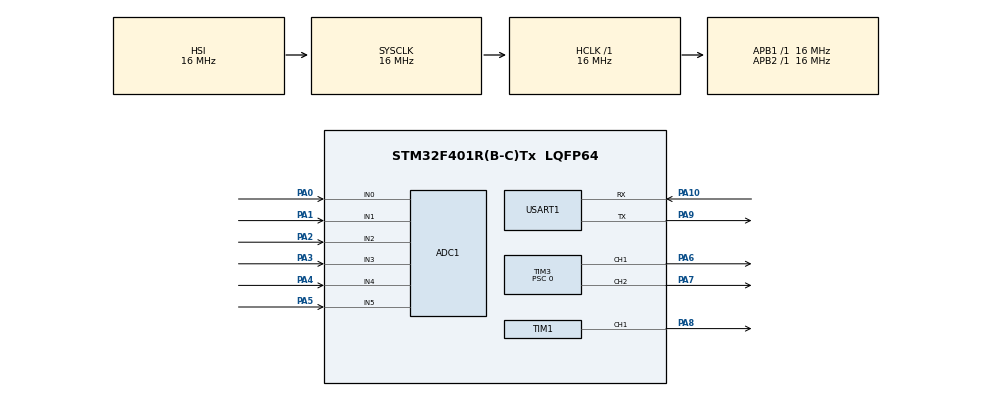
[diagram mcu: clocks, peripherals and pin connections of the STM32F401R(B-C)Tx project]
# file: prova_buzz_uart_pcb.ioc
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ADC1.Channel-0\#ChannelRegularConversion=ADC_CHANNEL_0
ADC1.Channel-1\#ChannelRegularConversion=ADC_CHANNEL_1
ADC1.Channel-2\#ChannelRegularConversion=ADC_CHANNEL_2
ADC1.Channel-3\#ChannelRegularConversion=ADC_CHANNEL_3
ADC1.Channel-4\#ChannelRegularConversion=ADC_CHANNEL_4
ADC1.Channel-5\#ChannelRegularConversion=ADC_CHANNEL_5
ADC1.ContinuousConvMode=DISABLE
ADC1.DMAContinuousRequests=DISABLE
ADC1.NbrOfConversion=6
ADC1.NbrOfConversionFlag=1
ADC1.Rank-0\#ChannelRegularConversion=1
ADC1.Rank-1\#ChannelRegularConversion=2
ADC1.Rank-2\#ChannelRegularConversion=3
ADC1.Rank-3\#ChannelRegularConversion=4
ADC1.Rank-4\#ChannelRegularConversion=5
ADC1.Rank-5\#ChannelRegularConversion=6
ADC1.SamplingTime-0\#ChannelRegularConversion=ADC_SAMPLETIME_480CYCLES
ADC1.SamplingTime-1\#ChannelRegularConversion=ADC_SAMPLETIME_480CYCLES
ADC1.SamplingTime-2\#ChannelRegularConversion=ADC_SAMPLETIME_480CYCLES
ADC1.SamplingTime-3\#ChannelRegularConversion=ADC_SAMPLETIME_480CYCLES
ADC1.SamplingTime-4\#ChannelRegularConversion=ADC_SAMPLETIME_480CYCLES
ADC1.SamplingTime-5\#ChannelRegularConversion=ADC_SAMPLETIME_480CYCLES
ADC1.ScanConvMode=ENABLE
ADC1.master=1
Dma.Request0=USART1_RX
Dma.Request1=USART1_TX
Dma.USART1_RX.0.Direction=DMA_PERIPH_TO_MEMORY
Dma.USART1_RX.0.FIFOMode=DMA_FIFOMODE_DISABLE
Dma.USART1_RX.0.Instance=DMA2_Stream2
Dma.USART1_RX.0.MemDataAlignment=DMA_MDATAALIGN_BYTE
Dma.USART1_RX.0.MemInc=DMA_MINC_ENABLE
Dma.USART1_RX.0.Mode=DMA_NORMAL
Dma.USART1_RX.0.PeriphDataAlignment=DMA_PDATAALIGN_BYTE
Dma.USART1_RX.0.PeriphInc=DMA_PINC_DISABLE
Dma.USART1_RX.0.Priority=DMA_PRIORITY_LOW
Dma.USART1_TX.1.Direction=DMA_MEMORY_TO_PERIPH
Dma.USART1_TX.1.FIFOMode=DMA_FIFOMODE_DISABLE
Dma.USART1_TX.1.Instance=DMA2_Stream7
Dma.USART1_TX.1.MemDataAlignment=DMA_MDATAALIGN_BYTE
Dma.USART1_TX.1.MemInc=DMA_MINC_ENABLE
Dma.USART1_TX.1.Mode=DMA_NORMAL
Dma.USART1_TX.1.PeriphDataAlignment=DMA_PDATAALIGN_BYTE
Dma.USART1_TX.1.PeriphInc=DMA_PINC_DISABLE
Dma.USART1_TX.1.Priority=DMA_PRIORITY_LOW
Mcu.Family=STM32F4
Mcu.Name=STM32F401R(B-C)Tx
Mcu.Package=LQFP64
NVIC.ADC_IRQn=true\:0\:0\:false\:false\:true\:true\:true\:true
NVIC.DMA2_Stream2_IRQn=true\:0\:0\:false\:false\:true\:false\:true\:true
NVIC.DMA2_Stream7_IRQn=true\:0\:0\:false\:false\:true\:false\:true\:true
NVIC.PriorityGroup=NVIC_PRIORITYGROUP_4
NVIC.USART1_IRQn=true\:0\:0\:false\:false\:true\:true\:true\:true
PA0-WKUP.Signal=ADCx_IN0
PA1.Signal=ADCx_IN1
PA10.Mode=Asynchronous
PA10.Signal=USART1_RX
PA2.Signal=ADCx_IN2
PA3.Signal=ADCx_IN3
PA4.Signal=ADCx_IN4
PA5.Signal=ADCx_IN5
PA6.Signal=S_TIM3_CH1
PA7.Signal=S_TIM3_CH2
PA8.Signal=S_TIM1_CH1
PA9.Mode=Asynchronous
PA9.Signal=USART1_TX
ProjectManager.HeapSize=0x200
ProjectManager.StackSize=0x400
ProjectManager.TargetToolchain=STM32CubeIDE
RCC.AHBFreq_Value=16000000
RCC.APB1Freq_Value=16000000
RCC.APB2Freq_Value=16000000
RCC.CortexFreq_Value=16000000
RCC.HSE_VALUE=25000000
RCC.HSI_VALUE=16000000
RCC.LSE_VALUE=32768
RCC.SYSCLKFreq_VALUE=16000000
RCC.VCOOutputFreq_Value=192000000
SH.ADCx_IN0.0=ADC1_IN0,IN0
SH.ADCx_IN1.0=ADC1_IN1,IN1
SH.ADCx_IN2.0=ADC1_IN2,IN2
SH.ADCx_IN3.0=ADC1_IN3,IN3
SH.ADCx_IN4.0=ADC1_IN4,IN4
SH.ADCx_IN5.0=ADC1_IN5,IN5
SH.S_TIM1_CH1.0=TIM1_CH1,PWM Generation1 CH1
SH.S_TIM3_CH1.0=TIM3_CH1,PWM Generation1 CH1
SH.S_TIM3_CH2.0=TIM3_CH2,PWM Generation2 CH2
TIM1.Channel-PWM\ Generation1\ CH1=TIM_CHANNEL_1
TIM3.Channel-PWM\ Generation1\ CH1=TIM_CHANNEL_1
TIM3.Channel-PWM\ Generation2\ CH2=TIM_CHANNEL_2
TIM3.Period=255
TIM3.Prescaler=0
USART1.VirtualMode=VM_ASYNC
board=custom

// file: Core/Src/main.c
/* USER CODE BEGIN Header */
/**
  ******************************************************************************
  * @file           : main.c
  * @brief          : Main program body
  ******************************************************************************
  * @attention
  *
  * Copyright (c) 2026 STMicroelectronics.
  * All rights reserved.
  *
  * This software is licensed under terms that can be found in the LICENSE file
  * in the root directory of this software component.
  * If no LICENSE file comes with this software, it is provided AS-IS.
  *
  ******************************************************************************
  */
/* USER CODE END Header */
#include "main.h"
#include "ntc.h" //NTC

ADC_HandleTypeDef hadc1;

TIM_HandleTypeDef htim1;
TIM_HandleTypeDef htim3;

UART_HandleTypeDef huart1;
DMA_HandleTypeDef hdma_usart1_rx;
DMA_HandleTypeDef hdma_usart1_tx;

void SystemClock_Config(void);
static void MX_GPIO_Init(void);
static void MX_DMA_Init(void);
static void MX_TIM1_Init(void);
static void MX_USART1_UART_Init(void);
static void MX_TIM3_Init(void);
static void MX_ADC1_Init(void);

/* USER CODE BEGIN 0 */

// qui metto le funzioni

void Buzzer_Beep(uint32_t frequency_hz, uint32_t duration_ms)
{
    uint32_t timer_clock = 16000000; // HSI = 16MHz, nessun PLL
    uint32_t arr = (timer_clock / frequency_hz) - 1;

    __HAL_TIM_SET_AUTORELOAD(&htim1, arr);
    __HAL_TIM_SET_COMPARE(&htim1, TIM_CHANNEL_1, arr / 2); // 50% duty cycle
    HAL_TIM_PWM_Start(&htim1, TIM_CHANNEL_1);
    HAL_Delay(duration_ms);
    HAL_TIM_PWM_Stop(&htim1, TIM_CHANNEL_1);
}

/* USER CODE END 0 */

int main(void)
{

  /* MCU Configuration--------------------------------------------------------*/

  /* Reset of all peripherals, Initializes the Flash interface and the Systick. */
  HAL_Init();

  /* Configure the system clock */
  SystemClock_Config();

  /* Initialize all configured peripherals */
  MX_GPIO_Init();
  MX_DMA_Init();
  MX_TIM1_Init();
  MX_USART1_UART_Init();
  MX_TIM3_Init();
  MX_ADC1_Init();
  /* USER CODE BEGIN 2 */

  // buzz sound
  Buzzer_Beep(2000, 300);
/*
  ***PWM SETTINGS TOLTO MOMENTANEAEMENTE***
  // Avvia PWM ventole
  HAL_TIM_PWM_Start(&htim3, TIM_CHANNEL_1);
  HAL_TIM_PWM_Start(&htim3, TIM_CHANNEL_2);

  // Duty cycle iniziale 50%
  __HAL_TIM_SET_COMPARE(&htim3, TIM_CHANNEL_1, 127);
  __HAL_TIM_SET_COMPARE(&htim3, TIM_CHANNEL_2, 127);

*/
  GPIO_InitTypeDef GPIO_InitStruct = {0};
  GPIO_InitStruct.Pin = GPIO_PIN_6 | GPIO_PIN_7;
  GPIO_InitStruct.Mode = GPIO_MODE_OUTPUT_PP;
  GPIO_InitStruct.Pull = GPIO_NOPULL;
  GPIO_InitStruct.Speed = GPIO_SPEED_FREQ_LOW;
  HAL_GPIO_Init(GPIOA, &GPIO_InitStruct);

  NTC_Init(&hadc1); //NTC init

  /* USER CODE END 2 */

  /* Infinite loop */
  while (1)
  {

    /* USER CODE BEGIN 3 */

	  /*
	  for(int i=0; i<255; i++){
		  __HAL_TIM_SET_COMPARE(&htim3, TIM_CHANNEL_1, i);
		  __HAL_TIM_SET_COMPARE(&htim3, TIM_CHANNEL_2, i);

		  HAL_Delay(10);
	  }
	*/
	    HAL_GPIO_WritePin(GPIOA, GPIO_PIN_6 | GPIO_PIN_7, GPIO_PIN_SET);
	    HAL_Delay(500);
	    HAL_GPIO_WritePin(GPIOA, GPIO_PIN_6 | GPIO_PIN_7, GPIO_PIN_RESET);
	    HAL_Delay(500);

	    //NTC
	    if (NTC_DataReady())
	    {
	        NTC_ClearFlag();

	        for (uint8_t i = 0; i < NTC_COUNT; i++)
	        {
	            uint32_t raw    = NTC_GetRaw(i);
	            float r_ntc   	= NTC_GetResistance(i);
	            float temp 		= NTC_GetTemperature(i); // da sistemare con i valori giusti del datasheet del sensore
	        }
	    }
  }
  /* USER CODE END 3 */
}

void SystemClock_Config(void)
{
  RCC_OscInitTypeDef RCC_OscInitStruct = {0};
  RCC_ClkInitTypeDef RCC_ClkInitStruct = {0};

  /** Configure the main internal regulator output voltage
  */
  __HAL_RCC_PWR_CLK_ENABLE();
  __HAL_PWR_VOLTAGESCALING_CONFIG(PWR_REGULATOR_VOLTAGE_SCALE2);

  /** Initializes the RCC Oscillators according to the specified parameters
  * in the RCC_OscInitTypeDef structure.
  */
  RCC_OscInitStruct.OscillatorType = RCC_OSCILLATORTYPE_HSI;
  RCC_OscInitStruct.HSIState = RCC_HSI_ON;
  RCC_OscInitStruct.HSICalibrationValue = RCC_HSICALIBRATION_DEFAULT;
  RCC_OscInitStruct.PLL.PLLState = RCC_PLL_NONE;
  if (HAL_RCC_OscConfig(&RCC_OscInitStruct) != HAL_OK)
  {
    Error_Handler();
  }

  /** Initializes the CPU, AHB and APB buses clocks
  */
  RCC_ClkInitStruct.ClockType = RCC_CLOCKTYPE_HCLK|RCC_CLOCKTYPE_SYSCLK
                              |RCC_CLOCKTYPE_PCLK1|RCC_CLOCKTYPE_PCLK2;
  RCC_ClkInitStruct.SYSCLKSource = RCC_SYSCLKSOURCE_HSI;
  RCC_ClkInitStruct.AHBCLKDivider = RCC_SYSCLK_DIV1;
  RCC_ClkInitStruct.APB1CLKDivider = RCC_HCLK_DIV1;
  RCC_ClkInitStruct.APB2CLKDivider = RCC_HCLK_DIV1;

  if (HAL_RCC_ClockConfig(&RCC_ClkInitStruct, FLASH_LATENCY_0) != HAL_OK)
  {
    Error_Handler();
  }
}

static void MX_ADC1_Init(void)
{

  ADC_ChannelConfTypeDef sConfig = {0};

  /** Configure the global features of the ADC (Clock, Resolution, Data Alignment and number of conversion)
  */
  hadc1.Instance = ADC1;
  hadc1.Init.ClockPrescaler = ADC_CLOCK_SYNC_PCLK_DIV2;
  hadc1.Init.Resolution = ADC_RESOLUTION_12B;
  hadc1.Init.ScanConvMode = ENABLE;
  hadc1.Init.ContinuousConvMode = DISABLE;
  hadc1.Init.DiscontinuousConvMode = DISABLE;
  hadc1.Init.ExternalTrigConvEdge = ADC_EXTERNALTRIGCONVEDGE_NONE;
  hadc1.Init.ExternalTrigConv = ADC_SOFTWARE_START;
  hadc1.Init.DataAlign = ADC_DATAALIGN_RIGHT;
  hadc1.Init.NbrOfConversion = 6;
  hadc1.Init.DMAContinuousRequests = DISABLE;
  hadc1.Init.EOCSelection = ADC_EOC_SINGLE_CONV;
  if (HAL_ADC_Init(&hadc1) != HAL_OK)
  {
    Error_Handler();
  }

  /** Configure for the selected ADC regular channel its corresponding rank in the sequencer and its sample time.
  */
  sConfig.Channel = ADC_CHANNEL_0;
  sConfig.Rank = 1;
  sConfig.SamplingTime = ADC_SAMPLETIME_480CYCLES;
  if (HAL_ADC_ConfigChannel(&hadc1, &sConfig) != HAL_OK)
  {
    Error_Handler();
  }

  /** Configure for the selected ADC regular channel its corresponding rank in the sequencer and its sample time.
  */
  sConfig.Channel = ADC_CHANNEL_1;
  sConfig.Rank = 2;
  if (HAL_ADC_ConfigChannel(&hadc1, &sConfig) != HAL_OK)
  {
    Error_Handler();
  }

  /** Configure for the selected ADC regular channel its corresponding rank in the sequencer and its sample time.
  */
  sConfig.Channel = ADC_CHANNEL_2;
  sConfig.Rank = 3;
  if (HAL_ADC_ConfigChannel(&hadc1, &sConfig) != HAL_OK)
  {
    Error_Handler();
  }

  /** Configure for the selected ADC regular channel its corresponding rank in the sequencer and its sample time.
  */
  sConfig.Channel = ADC_CHANNEL_3;
  sConfig.Rank = 4;
  if (HAL_ADC_ConfigChannel(&hadc1, &sConfig) != HAL_OK)
  {
    Error_Handler();
  }

  /** Configure for the selected ADC regular channel its corresponding rank in the sequencer and its sample time.
  */
  sConfig.Channel = ADC_CHANNEL_4;
  sConfig.Rank = 5;
  if (HAL_ADC_ConfigChannel(&hadc1, &sConfig) != HAL_OK)
  {
    Error_Handler();
  }

  /** Configure for the selected ADC regular channel its corresponding rank in the sequencer and its sample time.
  */
  sConfig.Channel = ADC_CHANNEL_5;
  sConfig.Rank = 6;
  if (HAL_ADC_ConfigChannel(&hadc1, &sConfig) != HAL_OK)
  {
    Error_Handler();
  }

}

static void MX_TIM1_Init(void)
{

  TIM_MasterConfigTypeDef sMasterConfig = {0};
  TIM_OC_InitTypeDef sConfigOC = {0};
  TIM_BreakDeadTimeConfigTypeDef sBreakDeadTimeConfig = {0};

  htim1.Instance = TIM1;
  htim1.Init.Prescaler = 0;
  htim1.Init.CounterMode = TIM_COUNTERMODE_UP;
  htim1.Init.Period = 65535;
  htim1.Init.ClockDivision = TIM_CLOCKDIVISION_DIV1;
  htim1.Init.RepetitionCounter = 0;
  htim1.Init.AutoReloadPreload = TIM_AUTORELOAD_PRELOAD_DISABLE;
  if (HAL_TIM_PWM_Init(&htim1) != HAL_OK)
  {
    Error_Handler();
  }
  sMasterConfig.MasterOutputTrigger = TIM_TRGO_RESET;
  sMasterConfig.MasterSlaveMode = TIM_MASTERSLAVEMODE_DISABLE;
  if (HAL_TIMEx_MasterConfigSynchronization(&htim1, &sMasterConfig) != HAL_OK)
  {
    Error_Handler();
  }
  sConfigOC.OCMode = TIM_OCMODE_PWM1;
  sConfigOC.Pulse = 0;
  sConfigOC.OCPolarity = TIM_OCPOLARITY_HIGH;
  sConfigOC.OCNPolarity = TIM_OCNPOLARITY_HIGH;
  sConfigOC.OCFastMode = TIM_OCFAST_DISABLE;
  sConfigOC.OCIdleState = TIM_OCIDLESTATE_RESET;
  sConfigOC.OCNIdleState = TIM_OCNIDLESTATE_RESET;
  if (HAL_TIM_PWM_ConfigChannel(&htim1, &sConfigOC, TIM_CHANNEL_1) != HAL_OK)
  {
    Error_Handler();
  }
  sBreakDeadTimeConfig.OffStateRunMode = TIM_OSSR_DISABLE;
  sBreakDeadTimeConfig.OffStateIDLEMode = TIM_OSSI_DISABLE;
  sBreakDeadTimeConfig.LockLevel = TIM_LOCKLEVEL_OFF;
  sBreakDeadTimeConfig.DeadTime = 0;
  sBreakDeadTimeConfig.BreakState = TIM_BREAK_DISABLE;
  sBreakDeadTimeConfig.BreakPolarity = TIM_BREAKPOLARITY_HIGH;
  sBreakDeadTimeConfig.AutomaticOutput = TIM_AUTOMATICOUTPUT_DISABLE;
  if (HAL_TIMEx_ConfigBreakDeadTime(&htim1, &sBreakDeadTimeConfig) != HAL_OK)
  {
    Error_Handler();
  }
  HAL_TIM_MspPostInit(&htim1);

}

static void MX_TIM3_Init(void)
{

  TIM_MasterConfigTypeDef sMasterConfig = {0};
  TIM_OC_InitTypeDef sConfigOC = {0};

  htim3.Instance = TIM3;
  htim3.Init.Prescaler = 0;
  htim3.Init.CounterMode = TIM_COUNTERMODE_UP;
  htim3.Init.Period = 255;
  htim3.Init.ClockDivision = TIM_CLOCKDIVISION_DIV1;
  htim3.Init.AutoReloadPreload = TIM_AUTORELOAD_PRELOAD_DISABLE;
  if (HAL_TIM_PWM_Init(&htim3) != HAL_OK)
  {
    Error_Handler();
  }
  sMasterConfig.MasterOutputTrigger = TIM_TRGO_RESET;
  sMasterConfig.MasterSlaveMode = TIM_MASTERSLAVEMODE_DISABLE;
  if (HAL_TIMEx_MasterConfigSynchronization(&htim3, &sMasterConfig) != HAL_OK)
  {
    Error_Handler();
  }
  sConfigOC.OCMode = TIM_OCMODE_PWM1;
  sConfigOC.Pulse = 0;
  sConfigOC.OCPolarity = TIM_OCPOLARITY_HIGH;
  sConfigOC.OCFastMode = TIM_OCFAST_DISABLE;
  if (HAL_TIM_PWM_ConfigChannel(&htim3, &sConfigOC, TIM_CHANNEL_1) != HAL_OK)
  {
    Error_Handler();
  }
  if (HAL_TIM_PWM_ConfigChannel(&htim3, &sConfigOC, TIM_CHANNEL_2) != HAL_OK)
  {
    Error_Handler();
  }
  HAL_TIM_MspPostInit(&htim3);

}

static void MX_USART1_UART_Init(void)
{

  huart1.Instance = USART1;
  huart1.Init.BaudRate = 115200;
  huart1.Init.WordLength = UART_WORDLENGTH_8B;
  huart1.Init.StopBits = UART_STOPBITS_1;
  huart1.Init.Parity = UART_PARITY_NONE;
  huart1.Init.Mode = UART_MODE_TX_RX;
  huart1.Init.HwFlowCtl = UART_HWCONTROL_NONE;
  huart1.Init.OverSampling = UART_OVERSAMPLING_16;
  if (HAL_UART_Init(&huart1) != HAL_OK)
  {
    Error_Handler();
  }

}

static void MX_DMA_Init(void)
{

  /* DMA controller clock enable */
  __HAL_RCC_DMA2_CLK_ENABLE();

  /* DMA interrupt init */
  /* DMA2_Stream2_IRQn interrupt configuration */
  HAL_NVIC_SetPriority(DMA2_Stream2_IRQn, 0, 0);
  HAL_NVIC_EnableIRQ(DMA2_Stream2_IRQn);
  /* DMA2_Stream7_IRQn interrupt configuration */
  HAL_NVIC_SetPriority(DMA2_Stream7_IRQn, 0, 0);
  HAL_NVIC_EnableIRQ(DMA2_Stream7_IRQn);

}

static void MX_GPIO_Init(void)
{

  /* GPIO Ports Clock Enable */
  __HAL_RCC_GPIOA_CLK_ENABLE();

}

/* USER CODE BEGIN 4 */

//NTC
void HAL_ADC_ConvCpltCallback(ADC_HandleTypeDef *hadc)
{
    NTC_ConvCpltCallback(hadc);
}
/* USER CODE END 4 */

void Error_Handler(void)
{
  __disable_irq();
  while (1)
  {
  }
}
